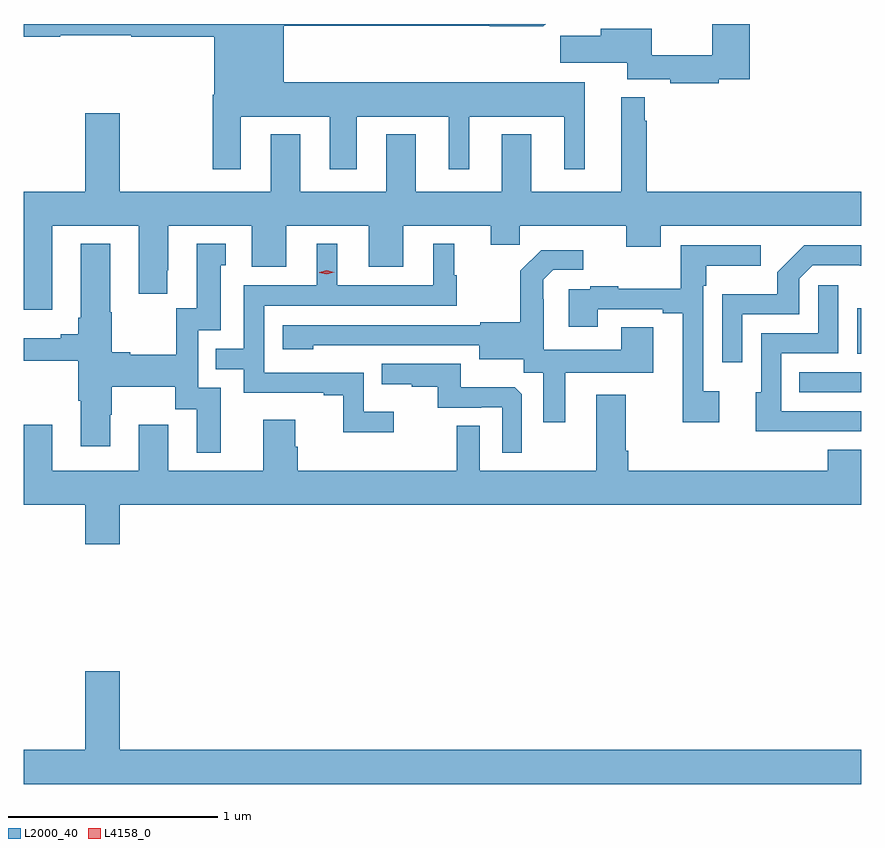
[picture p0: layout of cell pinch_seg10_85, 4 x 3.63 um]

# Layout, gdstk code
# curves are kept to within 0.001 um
import gdstk
lib = gdstk.Library(unit=1e-6, precision=1e-09)
def R(c, l, rs):  # rectangles x0, y0, x1, y1
    for r in rs: c.add(gdstk.rectangle(r[:2], r[2:], *l))
def P(c, l, *ps):  # polygons
    for p in ps: c.add(gdstk.Polygon(p, *l))
L2000_40 = (2000, 40)
L4158_0 = (4158, 0)

pinch_seg10_85 = lib.new_cell('pinch_seg10_85')
R(pinch_seg10_85, L2000_40, [(743.839,1320.834,744.137,1320.93), (744.116,1321.019,744.137,1321.234)])
P(pinch_seg10_85, L2000_40, [(741.175,1322.15),(741.599,1322.15),(741.599,1321.899),(741.727,1321.899),(741.727,1322.15),(742.166,1322.15),(742.166,1321.899),(742.264,1321.899),(742.264,1322.15),(742.718,1322.15),(742.718,1321.899),(742.816,1321.899),(742.816,1322.314),(741.379,1322.314),(741.379,1322.584),(742.363,1322.584),(742.363,1322.582),(742.619,1322.582),(742.629,1322.592),(740.137,1322.592),(740.137,1322.53),(740.312,1322.53),(740.312,1322.538),(740.651,1322.538),(740.651,1322.53),(741.047,1322.53),(741.047,1322.254),(741.04,1322.254),(741.04,1321.899),(741.175,1321.899)],
  [(743.456,1322.328),(743.603,1322.328),(743.603,1322.592),(743.425,1322.592),(743.425,1322.444),(743.136,1322.444),(743.136,1322.569),(742.892,1322.569),(742.892,1322.537),(742.698,1322.537),(742.698,1322.408),(743.018,1322.408),(743.018,1322.328),(743.224,1322.328),(743.224,1322.308),(743.456,1322.308)],
  [(740.275,1321.628),(740.687,1321.628),(740.687,1321.305),(740.824,1321.305),(740.824,1321.417),(740.827,1321.417),(740.827,1321.628),(741.227,1321.628),(741.227,1321.434),(741.391,1321.434),(741.391,1321.628),(741.785,1321.628),(741.785,1321.434),(741.949,1321.434),(741.949,1321.628),(742.367,1321.628),(742.367,1321.538),(742.505,1321.538),(742.505,1321.628),(743.015,1321.628),(743.015,1321.529),(743.179,1321.529),(743.179,1321.628),(744.137,1321.628),(744.137,1321.792),(743.113,1321.792),(743.113,1322.129),(743.102,1322.129),(743.102,1322.242),(742.991,1322.242),(742.991,1321.792),(742.561,1321.792),(742.561,1322.065),(742.421,1322.065),(742.421,1321.792),(742.009,1321.792),(742.009,1322.065),(741.869,1322.065),(741.869,1321.792),(741.457,1321.792),(741.457,1322.065),(741.317,1322.065),(741.317,1321.792),(740.596,1321.792),(740.596,1322.167),(740.432,1322.167),(740.432,1321.792),(740.137,1321.792),(740.137,1321.227),(740.275,1321.227)],
  [(741.079,1320.855),(740.97,1320.855),(740.97,1321.131),(741.079,1321.131),(741.079,1321.44),(741.103,1321.44),(741.103,1321.543),(740.963,1321.543),(740.963,1321.236),(740.867,1321.236),(740.867,1321.012),(740.647,1321.012),(740.647,1321.025),(740.559,1321.025),(740.559,1321.217),(740.551,1321.217),(740.551,1321.543),(740.411,1321.543),(740.411,1321.189),(740.399,1321.189),(740.399,1321.112),(740.315,1321.112),(740.315,1321.093),(740.137,1321.093),(740.137,1320.984),(740.399,1320.984),(740.399,1320.794),(740.411,1320.794),(740.411,1320.576),(740.551,1320.576),(740.551,1320.726),(740.559,1320.726),(740.559,1320.86),(740.862,1320.86),(740.862,1320.754),(740.963,1320.754),(740.963,1320.546),(741.079,1320.546)],
  [(741.904,1320.742),(741.762,1320.742),(741.762,1320.927),(741.285,1320.927),(741.285,1321.248),(742.204,1321.248),(742.204,1321.392),(742.192,1321.392),(742.192,1321.543),(742.094,1321.543),(742.094,1321.344),(741.634,1321.344),(741.634,1321.543),(741.536,1321.543),(741.536,1321.344),(741.189,1321.344),(741.189,1321.041),(741.055,1321.041),(741.055,1320.945),(741.189,1320.945),(741.189,1320.831),(741.569,1320.831),(741.569,1320.819),(741.664,1320.819),(741.664,1320.644),(741.904,1320.644)],
  [(743.458,1320.838),(743.382,1320.838),(743.382,1321.343),(743.395,1321.343),(743.395,1321.439),(743.656,1321.439),(743.656,1321.536),(743.274,1321.536),(743.274,1321.328),(742.975,1321.328),(742.975,1321.339),(742.843,1321.339),(742.843,1321.326),(742.739,1321.326),(742.739,1321.146),(742.879,1321.146),(742.879,1321.23),(743.189,1321.23),(743.189,1321.212),(743.285,1321.212),(743.285,1320.69),(743.458,1320.69)],
  [(743.568,1321.206),(743.841,1321.206),(743.841,1321.377),(743.904,1321.44),(744.137,1321.439),(744.137,1321.536),(743.864,1321.536),(743.734,1321.406),(743.734,1321.303),(743.472,1321.303),(743.472,1320.978),(743.568,1320.978)],
  [(742.723,1320.926),(743.143,1320.926),(743.143,1321.145),(742.991,1321.145),(742.991,1321.036),(742.62,1321.036),(742.62,1321.277),(742.618,1321.277),(742.618,1321.372),(742.665,1321.419),(742.81,1321.419),(742.81,1321.513),(742.609,1321.513),(742.509,1321.413),(742.509,1321.168),(742.317,1321.168),(742.317,1321.155),(741.375,1321.155),(741.375,1321.04),(741.519,1321.04),(741.519,1321.058),(742.313,1321.059),(742.313,1320.992),(742.524,1320.992),(742.524,1320.928),(742.619,1320.928),(742.619,1320.69),(742.723,1320.69)],
  [(743.851,1320.648),(744.137,1320.648),(744.137,1320.744),(743.754,1320.744),(743.754,1321.02),(744.027,1321.02),(744.027,1321.345),(743.931,1321.345),(743.931,1321.116),(743.658,1321.116),(743.658,1320.834),(743.633,1320.834),(743.633,1320.647),(743.851,1320.647)],
  [(742.515,1320.825),(742.483,1320.857),(742.225,1320.857),(742.225,1320.969),(741.847,1320.969),(741.847,1320.872),(741.991,1320.872),(741.991,1320.861),(742.115,1320.861),(742.115,1320.759),(742.322,1320.759),(742.322,1320.762),(742.422,1320.762),(742.422,1320.545),(742.515,1320.545)],
  [(740.596,1320.296),(744.137,1320.296),(744.137,1320.559),(743.975,1320.559),(743.975,1320.46),(743.024,1320.46),(743.024,1320.556),(743.011,1320.556),(743.011,1320.823),(742.871,1320.823),(742.871,1320.46),(742.314,1320.46),(742.314,1320.674),(742.206,1320.674),(742.206,1320.46),(741.446,1320.46),(741.446,1320.573),(741.433,1320.573),(741.433,1320.703),(741.281,1320.703),(741.281,1320.46),(740.827,1320.46),(740.827,1320.679),(740.687,1320.679),(740.687,1320.46),(740.275,1320.46),(740.275,1320.679),(740.137,1320.679),(740.137,1320.296),(740.432,1320.296),(740.432,1320.108),(740.596,1320.108)],
  [(740.432,1319.503),(740.432,1319.128),(740.137,1319.128),(740.137,1318.964),(744.137,1318.964),(744.137,1319.128),(740.596,1319.128),(740.596,1319.503)])
P(pinch_seg10_85, L4158_0, [(741.585,1321.397),(741.549,1321.405),(741.549,1321.406),(741.549,1321.406),(741.585,1321.416),(741.621,1321.408),(741.621,1321.407),(741.621,1321.407)])

lib.write_gds('pinch_seg10_85.gds')
